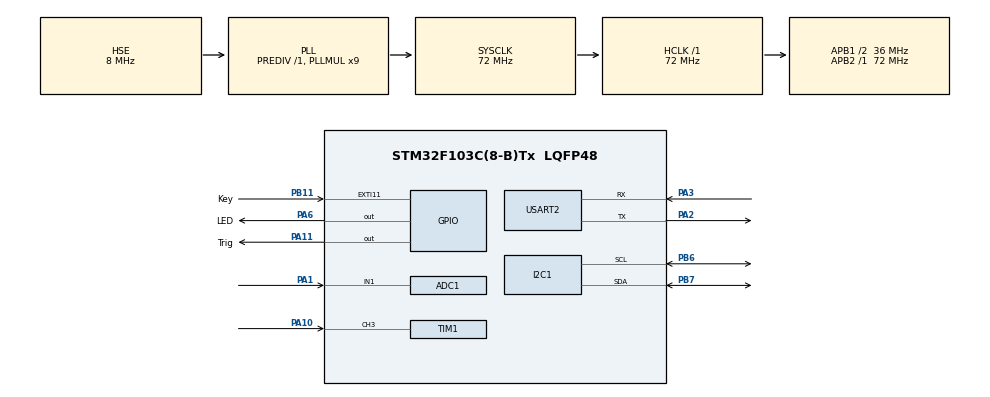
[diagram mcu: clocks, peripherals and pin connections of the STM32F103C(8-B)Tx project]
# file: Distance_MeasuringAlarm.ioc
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ADC1.Channel-2\#ChannelRegularConversion=ADC_CHANNEL_1
ADC1.ContinuousConvMode=DISABLE
ADC1.NbrOfConversionFlag=1
ADC1.Rank-2\#ChannelRegularConversion=1
ADC1.SamplingTime-2\#ChannelRegularConversion=ADC_SAMPLETIME_1CYCLE_5
ADC1.master=1
FREERTOS.BinarySemaphores01=RecBinarySem,Dynamic,NULL,Depleted
FREERTOS.Mutexes01=myMutex01,Dynamic,NULL,Available
FREERTOS.Tasks01=SensorTask,24,256,StarSensorTask,Default,NULL,Dynamic,NULL,NULL;DisplayTask,24,128,StartDisplayTask,Default,NULL,Dynamic,NULL,NULL;CmdTask,40,128,StartCmdTask,Default,NULL,Dynamic,NULL,NULL;AlarmTask,40,128,StartAlarmTask,Default,NULL,Dynamic,NULL,NULL
Mcu.Family=STM32F1
Mcu.Name=STM32F103C(8-B)Tx
Mcu.Package=LQFP48
NVIC.EXTI15_10_IRQn=true\:5\:0\:false\:false\:true\:false\:true\:true\:true
NVIC.PriorityGroup=NVIC_PRIORITYGROUP_4
NVIC.TIM1_CC_IRQn=true\:5\:0\:false\:false\:true\:true\:true\:true\:true
NVIC.TIM4_IRQn=true\:15\:0\:false\:false\:true\:false\:false\:true\:true
NVIC.TimeBase=TIM4_IRQn
NVIC.TimeBaseIP=TIM4
NVIC.USART2_IRQn=true\:5\:0\:false\:false\:true\:true\:true\:true\:true
PA1.Signal=ADCx_IN1
PA10.Signal=S_TIM1_CH3
PA11.GPIO_Label=Trig
PA11.Signal=GPIO_Output
PA13.Mode=Serial_Wire
PA13.Signal=SYS_JTMS-SWDIO
PA14.Mode=Serial_Wire
PA14.Signal=SYS_JTCK-SWCLK
PA2.Mode=Asynchronous
PA2.Signal=USART2_TX
PA3.Mode=Asynchronous
PA3.Signal=USART2_RX
PA6.GPIO_Label=LED
PA6.Signal=GPIO_Output
PB11.GPIO_Label=Key
PB11.GPIO_ModeDefaultEXTI=GPIO_MODE_IT_FALLING
PB11.GPIO_PuPd=GPIO_PULLUP
PB11.Signal=GPXTI11
PB6.Mode=I2C
PB6.Signal=I2C1_SCL
PB7.Mode=I2C
PB7.Signal=I2C1_SDA
PD0-OSC_IN.Mode=HSE-External-Oscillator
PD0-OSC_IN.Signal=RCC_OSC_IN
PD1-OSC_OUT.Mode=HSE-External-Oscillator
PD1-OSC_OUT.Signal=RCC_OSC_OUT
ProjectManager.HeapSize=0x200
ProjectManager.StackSize=0x400
ProjectManager.TargetToolchain=CMake
RCC.ADCPresc=RCC_ADCPCLK2_DIV6
RCC.AHBFreq_Value=72000000
RCC.APB1CLKDivider=RCC_HCLK_DIV2
RCC.APB1Freq_Value=36000000
RCC.APB1TimFreq_Value=72000000
RCC.APB2Freq_Value=72000000
RCC.APB2TimFreq_Value=72000000
RCC.HCLKFreq_Value=72000000
RCC.PLLMUL=RCC_PLL_MUL9
RCC.PLLSourceVirtual=RCC_PLLSOURCE_HSE
RCC.SYSCLKFreq_VALUE=72000000
RCC.SYSCLKSource=RCC_SYSCLKSOURCE_PLLCLK
RCC.USBFreq_Value=72000000
SH.ADCx_IN1.0=ADC1_IN1,IN1
SH.S_TIM1_CH3.0=TIM1_CH3,Input_Capture3_from_TI3
TIM1.Channel-Input_Capture3_from_TI3=TIM_CHANNEL_3
TIM1.Channel-Input_Capture4_from_TI3_63=TIM_CHANNEL_4
TIM1.ICFilter_CH3=0
TIM1.ICPolarity_CH4=TIM_INPUTCHANNELPOLARITY_FALLING
TIM1.Prescaler=72-1
USART2.VirtualMode=VM_ASYNC
VP_FREERTOS_VS_CMSIS_V2.Mode=CMSIS_V2
VP_SYS_VS_tim4.Mode=TIM4
VP_TIM1_VS_ClockSourceINT.Mode=Internal
VP_TIM1_VS_indirect_ch3.Mode=Input_Capture4_from_TI3_63
board=custom

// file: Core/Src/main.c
/* USER CODE BEGIN Header */
/**
  ******************************************************************************
  * @file           : main.c
  * @brief          : Main program body
  ******************************************************************************
  * @attention
  *
  * Copyright (c) 2026 STMicroelectronics.
  * All rights reserved.
  *
  * This software is licensed under terms that can be found in the LICENSE file
  * in the root directory of this software component.
  * If no LICENSE file comes with this software, it is provided AS-IS.
  *
  ******************************************************************************
  */
/* USER CODE END Header */
#include "main.h"
#include "cmsis_os.h"
#include "adc.h"
#include "i2c.h"
#include "tim.h"
#include "usart.h"
#include "gpio.h"

void SystemClock_Config(void);
void MX_FREERTOS_Init(void);

int main(void)
{

  /* MCU Configuration--------------------------------------------------------*/

  /* Reset of all peripherals, Initializes the Flash interface and the Systick. */
  HAL_Init();

  /* Configure the system clock */
  SystemClock_Config();

  /* Initialize all configured peripherals */
  MX_GPIO_Init();
  MX_ADC1_Init();
  MX_I2C1_Init();
  MX_TIM1_Init();
  MX_USART2_UART_Init();

  /* Init scheduler */
  osKernelInitialize();  /* Call init function for freertos objects (in cmsis_os2.c) */
  MX_FREERTOS_Init();

  /* Start scheduler */
  osKernelStart();

  /* We should never get here as control is now taken by the scheduler */

  /* Infinite loop */
  while (1)
  {

  }
}

void SystemClock_Config(void)
{
  RCC_OscInitTypeDef RCC_OscInitStruct = {0};
  RCC_ClkInitTypeDef RCC_ClkInitStruct = {0};
  RCC_PeriphCLKInitTypeDef PeriphClkInit = {0};

  /** Initializes the RCC Oscillators according to the specified parameters
  * in the RCC_OscInitTypeDef structure.
  */
  RCC_OscInitStruct.OscillatorType = RCC_OSCILLATORTYPE_HSE;
  RCC_OscInitStruct.HSEState = RCC_HSE_ON;
  RCC_OscInitStruct.HSEPredivValue = RCC_HSE_PREDIV_DIV1;
  RCC_OscInitStruct.HSIState = RCC_HSI_ON;
  RCC_OscInitStruct.PLL.PLLState = RCC_PLL_ON;
  RCC_OscInitStruct.PLL.PLLSource = RCC_PLLSOURCE_HSE;
  RCC_OscInitStruct.PLL.PLLMUL = RCC_PLL_MUL9;
  if (HAL_RCC_OscConfig(&RCC_OscInitStruct) != HAL_OK)
  {
    Error_Handler();
  }

  /** Initializes the CPU, AHB and APB buses clocks
  */
  RCC_ClkInitStruct.ClockType = RCC_CLOCKTYPE_HCLK|RCC_CLOCKTYPE_SYSCLK
                              |RCC_CLOCKTYPE_PCLK1|RCC_CLOCKTYPE_PCLK2;
  RCC_ClkInitStruct.SYSCLKSource = RCC_SYSCLKSOURCE_PLLCLK;
  RCC_ClkInitStruct.AHBCLKDivider = RCC_SYSCLK_DIV1;
  RCC_ClkInitStruct.APB1CLKDivider = RCC_HCLK_DIV2;
  RCC_ClkInitStruct.APB2CLKDivider = RCC_HCLK_DIV1;

  if (HAL_RCC_ClockConfig(&RCC_ClkInitStruct, FLASH_LATENCY_2) != HAL_OK)
  {
    Error_Handler();
  }
  PeriphClkInit.PeriphClockSelection = RCC_PERIPHCLK_ADC;
  PeriphClkInit.AdcClockSelection = RCC_ADCPCLK2_DIV6;
  if (HAL_RCCEx_PeriphCLKConfig(&PeriphClkInit) != HAL_OK)
  {
    Error_Handler();
  }
}

void HAL_TIM_PeriodElapsedCallback(TIM_HandleTypeDef *htim)
{
  if (htim->Instance == TIM4)
  {
    HAL_IncTick();
  }
}

void Error_Handler(void)
{
  __disable_irq();
  while (1)
  {
  }
}

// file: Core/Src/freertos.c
/* USER CODE BEGIN Header */
/**
  ******************************************************************************
  * File Name          : freertos.c
  * Description        : Code for freertos applications
  ******************************************************************************
  * @attention
  *
  * Copyright (c) 2026 STMicroelectronics.
  * All rights reserved.
  *
  * This software is licensed under terms that can be found in the LICENSE file
  * in the root directory of this software component.
  * If no LICENSE file comes with this software, it is provided AS-IS.
  *
  ******************************************************************************
  */
/* USER CODE END Header */

#include "FreeRTOS.h"
#include "task.h"
#include "main.h"
#include "cmsis_os.h"

/* USER CODE BEGIN Includes */
#include <stdlib.h>
#include <string.h>
#include "tim.h"
#include "adc.h"
#include "stdio.h"
#include "usart.h"
/* USER CODE END Includes */

/* USER CODE BEGIN PD */
int upEdge=0;
int downEdge=0;
int distance=0;
int value=0;
int light=0;
volatile int capture_valid=0;  /* 本轮是否成功捕获到有效距离 */
volatile int Flag=0;
uint8_t rx_byte;
/* 命令接收缓冲区 */
char cmd_buf[64];
volatile int cmd_len = 0 ;
/* 阈值变量（CmdTask写，AlarmTask读，需要互斥锁保护） */
int dist_threshold = 30 ;
int light_threshold = 40 ;
/* USER CODE END PD */

/* Definitions for SensorTask */
osThreadId_t SensorTaskHandle;
const osThreadAttr_t SensorTask_attributes = {
  .name = "SensorTask",
  .stack_size = 256 * 4,
  .priority = (osPriority_t) osPriorityNormal,
};
/* Definitions for DisplayTask */
osThreadId_t DisplayTaskHandle;
const osThreadAttr_t DisplayTask_attributes = {
  .name = "DisplayTask",
  .stack_size = 128 * 4,
  .priority = (osPriority_t) osPriorityNormal,
};
/* Definitions for CmdTask */
osThreadId_t CmdTaskHandle;
const osThreadAttr_t CmdTask_attributes = {
  .name = "CmdTask",
  .stack_size = 128 * 4,
  .priority = (osPriority_t) osPriorityHigh,
};
/* Definitions for AlarmTask */
osThreadId_t AlarmTaskHandle;
const osThreadAttr_t AlarmTask_attributes = {
  .name = "AlarmTask",
  .stack_size = 128 * 4,
  .priority = (osPriority_t) osPriorityHigh,
};
/* Definitions for myMutex01 */
osMutexId_t myMutex01Handle;
const osMutexAttr_t myMutex01_attributes = {
  .name = "myMutex01"
};
/* Definitions for RecBinarySem */
osSemaphoreId_t RecBinarySemHandle;
const osSemaphoreAttr_t RecBinarySem_attributes = {
  .name = "RecBinarySem"
};

void StarSensorTask(void *argument);
void StartDisplayTask(void *argument);
void StartCmdTask(void *argument);
void StartAlarmTask(void *argument);

void MX_FREERTOS_Init(void); /* (MISRA C 2004 rule 8.1) */

void MX_FREERTOS_Init(void) {
  /* Create the mutex(es) */
  /* creation of myMutex01 */
  myMutex01Handle = osMutexNew(&myMutex01_attributes);

  /* Create the semaphores(s) */
  /* creation of RecBinarySem */
  RecBinarySemHandle = osSemaphoreNew(1, 0, &RecBinarySem_attributes);

  /* Create the thread(s) */
  /* creation of SensorTask */
  SensorTaskHandle = osThreadNew(StarSensorTask, NULL, &SensorTask_attributes);

  /* creation of DisplayTask */
  DisplayTaskHandle = osThreadNew(StartDisplayTask, NULL, &DisplayTask_attributes);

  /* creation of CmdTask */
  CmdTaskHandle = osThreadNew(StartCmdTask, NULL, &CmdTask_attributes);

  /* creation of AlarmTask */
  AlarmTaskHandle = osThreadNew(StartAlarmTask, NULL, &AlarmTask_attributes);

}

void StarSensorTask(void *argument)
{
  /* USER CODE BEGIN StarSensorTask */
  HAL_TIM_Base_Start(&htim1);
  HAL_TIM_IC_Start(&htim1, TIM_CHANNEL_3);
  HAL_TIM_IC_Start_IT(&htim1, TIM_CHANNEL_4);

  /* 关闭输入滤波：filter=15 太严格，会把有效的 Echo 边沿滤掉 */
  htim1.Instance->CCMR2 &= ~(TIM_CCMR2_IC3F | TIM_CCMR2_IC4F);

  /* ADC 校准（F1 系列必须做，否则读数不准） */
  HAL_ADCEx_Calibration_Start(&hadc1);

  /* Infinite loop */
  for(;;)
  {
    /* 每轮发 Trig 前：清捕获标志 + 复位有效标志，确保边沿配对 */
    capture_valid = 0;
    __HAL_TIM_CLEAR_FLAG(&htim1, TIM_FLAG_CC3 | TIM_FLAG_CC4);
    __HAL_TIM_SET_COUNTER(&htim1, 0);
    HAL_GPIO_WritePin(Trig_GPIO_Port, Trig_Pin, GPIO_PIN_SET);
    osDelay(1);
    HAL_GPIO_WritePin(Trig_GPIO_Port, Trig_Pin, GPIO_PIN_RESET);
    osDelay(100);

    /* 单次 ADC 转换：启动→等待→读数，超时 10ms 防止卡死 */
    HAL_ADC_Start(&hadc1);
    if (HAL_ADC_PollForConversion(&hadc1, 10) == HAL_OK)
    {
      value = (int)HAL_ADC_GetValue(&hadc1);
      light = value * 100 / 4095;   /* 先乘后除，避免整数除法得 0 */
    }
  }
  /* USER CODE END StarSensorTask */
}

void StartDisplayTask(void *argument)
{
  /* USER CODE BEGIN StartDisplayTask */
  osDelay(20);
  OLED_Init();

  char msg[20];
  /* Infinite loop */
  for(;;)
  {
    OLED_NewFrame();
    sprintf(msg,"distance:%dcm",distance);
    OLED_PrintString(0,0,msg,&font16x16,OLED_COLOR_NORMAL);
    sprintf(msg,"light:%d%%",light);
    OLED_PrintString(0,20,msg,&font16x16,OLED_COLOR_NORMAL);
    OLED_ShowFrame();
    osDelay(500);
  }
  /* USER CODE END StartDisplayTask */
}

void StartCmdTask(void *argument)
{
  /* USER CODE BEGIN StartCmdTask */
  HAL_UART_Receive_IT(&huart2,&rx_byte,1);
  HAL_UART_Transmit(&huart2, ( uint8_t *) "CMD ready. Type 'help'\r\n" , 24 , 100 );
  /* Infinite loop */
  for(;;)
  {
    osSemaphoreAcquire(RecBinarySemHandle,osWaitForever);
    if (strncmp(cmd_buf, "help", 4) == 0)
    {
      HAL_UART_Transmit(&huart2, (uint8_t *)
        "Commands:\r\n  get          - show distance & light\r\n"
        "  set dist N   - set distance threshold (cm)\r\n"
        "  set light N  - set light threshold (%)\r\n", 130, 100);
    } else if (strncmp(cmd_buf, "get", 3) == 0)
    {
      char reply[64];
      sprintf(reply, "distance=%dcm, light=%d%%\r\n", distance, light);
      HAL_UART_Transmit(&huart2, (uint8_t *)reply, strlen(reply), 100);
    }else if (strncmp(cmd_buf,"set dist",8)==0)
    {
      int val=atoi(cmd_buf+9);
      osMutexAcquire(myMutex01Handle,osWaitForever);
      dist_threshold=val;
      osMutexRelease(myMutex01Handle);
      char reply[30];
      sprintf(reply,"ok,dist_threshold=%d ", dist_threshold);
      HAL_UART_Transmit(&huart2, (uint8_t *)reply, strlen(reply), 100);
    }else if (strncmp(cmd_buf,"set light",9)==0)
    {
      int val=atoi(cmd_buf+10);
      osMutexAcquire(myMutex01Handle,osWaitForever);
      light_threshold=val;
      osMutexRelease(myMutex01Handle);
      char reply[30];
      sprintf(reply,"ok,light_threshold=%d ", light_threshold);
      HAL_UART_Transmit(&huart2, (uint8_t *)reply, strlen(reply), 100);
    }else
    {
      HAL_UART_Transmit(&huart2, (uint8_t *)"Unknown command, type 'help'\r\n", 31, 100);
    }
    osDelay(1);
  }
  /* USER CODE END StartCmdTask */
}

void StartAlarmTask(void *argument)
{
  osDelay(1000);
  for(;;)
  {
    /* 读阈值时加锁，防止 CmdTask 改到一半 */
    osMutexAcquire(myMutex01Handle, osWaitForever);
    int d_th = dist_threshold;
    int l_th = light_threshold;
    osMutexRelease(myMutex01Handle);

    if (distance > 0 && distance < d_th && light < l_th) {
      Flag = 1;
    }
    if (Flag == 1) {
      HAL_GPIO_TogglePin(LED_GPIO_Port, LED_Pin);
      osDelay(500);
    } else {
      HAL_GPIO_WritePin(LED_GPIO_Port, LED_Pin, GPIO_PIN_RESET);
    }
    osDelay(1);
  }
}

/* USER CODE BEGIN Application */

/* 输入捕获回调：Echo下降沿触发，计算距离 */
void HAL_TIM_IC_CaptureCallback(TIM_HandleTypeDef *htim)
{
  if (htim == &htim1 && htim->Channel == HAL_TIM_ACTIVE_CHANNEL_4)
  {
    upEdge   = HAL_TIM_ReadCapturedValue(htim, TIM_CHANNEL_3);
    downEdge = HAL_TIM_ReadCapturedValue(htim, TIM_CHANNEL_4);
    int duration = downEdge - upEdge;
    /* 有效性检查：HC-SR04 量程 2~400cm，对应时长 118~23529us */
    if (duration > 118 && duration < 23529)
    {
      distance = duration * 17 / 1000;
      capture_valid = 1;
    }
  }
}
void HAL_UART_RxCpltCallback(UART_HandleTypeDef *huart){
  if (huart==&huart2) {
    if (rx_byte=='\n') {
      cmd_buf[cmd_len]='\0';
      osSemaphoreRelease(RecBinarySemHandle);
      cmd_len=0;
    }else if (rx_byte!='\r') {
      if (cmd_len<63) {
        cmd_buf[cmd_len]=rx_byte;
        cmd_len++;
      }

    }
    HAL_UART_Receive_IT(&huart2,&rx_byte,1);
  }
}

/* USER CODE END Application */
